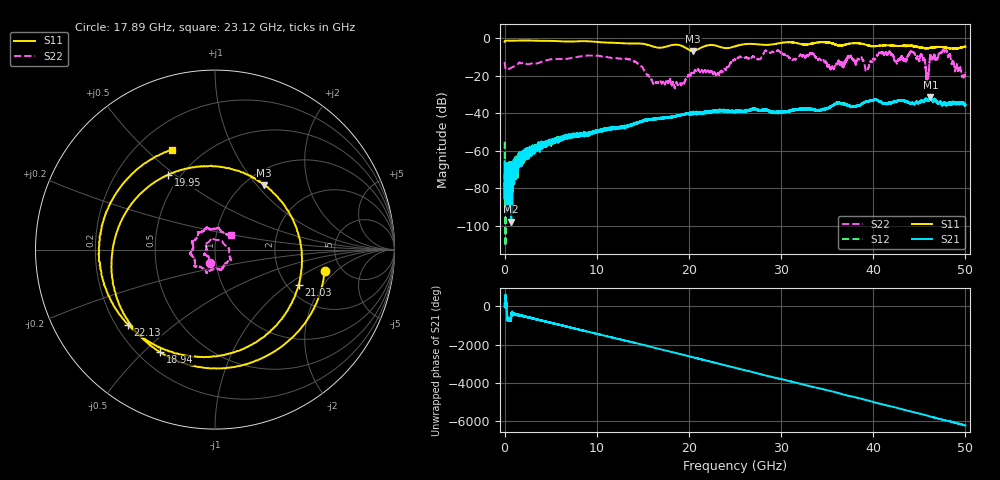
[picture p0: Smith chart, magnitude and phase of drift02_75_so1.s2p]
!Created with skrf (http://scikit-rf.org).
# Hz S RI R 50.0
!freq ReS11 ImS11 ReS21 ImS21 ReS12 ImS12 ReS22 ImS22
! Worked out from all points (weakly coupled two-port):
!   10001 points, 300 kHz to 50 GHz, reference 50 ohm
!   highest |S21| = -31.51 dB at 46.21 GHz (marker M1); lowest = -97.8 dB at 715.3 MHz (marker M2)
!   lowest |S11| = -6.9 dB at 20.45 GHz (marker M3), VSWR 2.64, Z = 60.9 + j54.7 ohm
!   |S11| at or under -10 dB: nowhere
!   |S22| runs from -26.8 to -6.1 dB; largest |S21 - S12| = 0.0033
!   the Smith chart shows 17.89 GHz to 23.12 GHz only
!   S11 on the Smith chart (normalised r, x): 17.89 GHz: 3.72, -1.42; 18.94 GHz: 0.29, -0.56; 19.95 GHz: 0.43, +0.47; 21.03 GHz: 2.30, -1.21; 22.13 GHz: 0.25, -0.35; 23.12 GHz: 0.34, +0.60
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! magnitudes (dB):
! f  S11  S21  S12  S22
! 300 kHz  -2.0  -65.7  -55.2  -12.8
! 255.3 MHz  -1.4  -77.4  -84.7  -17.0
! 715.3 MHz  -1.5  -97.8  -75.4  -15.8
! 3.12 GHz  -1.4  -60.4  -58.9  -13.4
! 8.335 GHz  -1.7  -52.0  -52.0  -9.7
! 13.7 GHz  -2.9  -46.5  -46.2  -11.7
! 16.67 GHz  -5.2  -42.6  -43.0  -23.7
! 17.89 GHz  -4.1  -42.0  -42.0  -22.1
! 18.94 GHz  -3.8  -41.2  -41.4  -23.4
! 19.95 GHz  -6.2  -40.4  -40.3  -19.6
! 20.45 GHz  -6.9  -40.4  -40.3  -19.4
! 21.03 GHz  -5.9  -39.9  -39.9  -16.8
! 22.13 GHz  -3.9  -39.5  -38.9  -17.6
! 23.12 GHz  -4.3  -38.9  -39.1  -18.6
! 25 GHz  -4.5  -39.4  -39.1  -11.6
! 33.34 GHz  -3.0  -37.7  -38.1  -8.4
! 39.33 GHz  -3.8  -33.8  -33.7  -16.8
! 41.67 GHz  -3.9  -34.8  -34.8  -7.6
! 45.86 GHz  -5.5  -32.9  -33.1  -19.3
! 46.21 GHz  -5.3  -31.5  -31.5  -8.6
! 47.75 GHz  -5.0  -34.2  -34.6  -6.9
! 50 GHz  -4.7  -35.8  -35.9  -18.3
